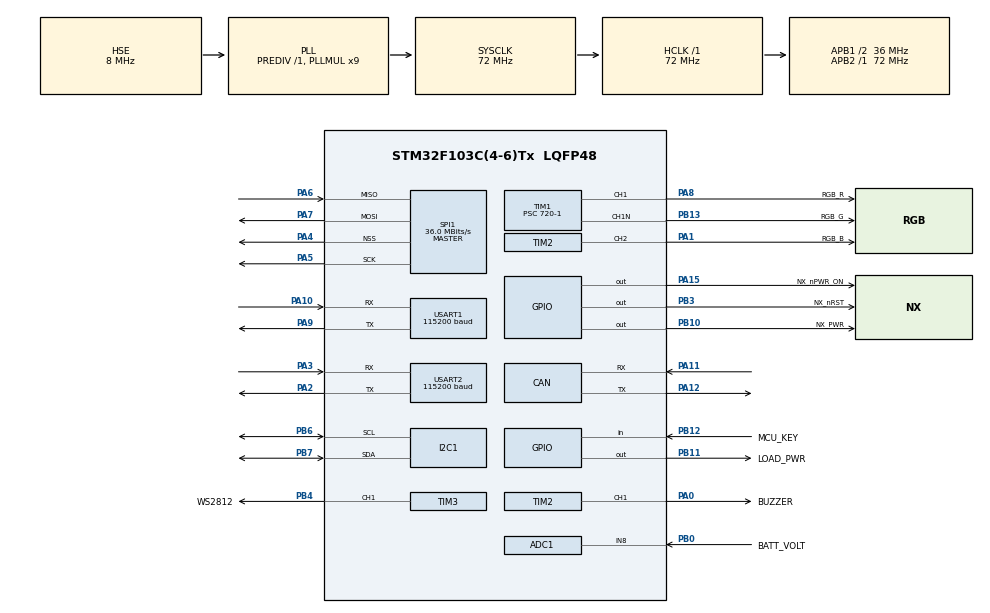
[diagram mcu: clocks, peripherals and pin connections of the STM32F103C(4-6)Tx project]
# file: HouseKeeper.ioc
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ADC1.Channel-1\#ChannelRegularConversion=ADC_CHANNEL_8
ADC1.NbrOfConversionFlag=1
ADC1.Rank-1\#ChannelRegularConversion=1
ADC1.SamplingTime-1\#ChannelRegularConversion=ADC_SAMPLETIME_1CYCLE_5
ADC1.master=1
CAN.BS1=CAN_BS1_1TQ
CAN.BS2=CAN_BS2_1TQ
CAN.CalculateTimeBit=1333
CAN.CalculateTimeQuantum=444.44444444444446
Dma.Request0=USART2_RX
Dma.Request1=USART2_TX
Dma.Request2=USART1_RX
Dma.Request3=USART1_TX
Dma.USART1_RX.2.Direction=DMA_PERIPH_TO_MEMORY
Dma.USART1_RX.2.Instance=DMA1_Channel5
Dma.USART1_RX.2.MemDataAlignment=DMA_MDATAALIGN_BYTE
Dma.USART1_RX.2.MemInc=DMA_MINC_ENABLE
Dma.USART1_RX.2.Mode=DMA_NORMAL
Dma.USART1_RX.2.PeriphDataAlignment=DMA_PDATAALIGN_BYTE
Dma.USART1_RX.2.PeriphInc=DMA_PINC_DISABLE
Dma.USART1_RX.2.Priority=DMA_PRIORITY_LOW
Dma.USART1_TX.3.Direction=DMA_MEMORY_TO_PERIPH
Dma.USART1_TX.3.Instance=DMA1_Channel4
Dma.USART1_TX.3.MemDataAlignment=DMA_MDATAALIGN_BYTE
Dma.USART1_TX.3.MemInc=DMA_MINC_ENABLE
Dma.USART1_TX.3.Mode=DMA_NORMAL
Dma.USART1_TX.3.PeriphDataAlignment=DMA_PDATAALIGN_BYTE
Dma.USART1_TX.3.PeriphInc=DMA_PINC_DISABLE
Dma.USART1_TX.3.Priority=DMA_PRIORITY_LOW
Dma.USART2_RX.0.Direction=DMA_PERIPH_TO_MEMORY
Dma.USART2_RX.0.Instance=DMA1_Channel6
Dma.USART2_RX.0.MemDataAlignment=DMA_MDATAALIGN_BYTE
Dma.USART2_RX.0.MemInc=DMA_MINC_ENABLE
Dma.USART2_RX.0.Mode=DMA_NORMAL
Dma.USART2_RX.0.PeriphDataAlignment=DMA_PDATAALIGN_BYTE
Dma.USART2_RX.0.PeriphInc=DMA_PINC_DISABLE
Dma.USART2_RX.0.Priority=DMA_PRIORITY_LOW
Dma.USART2_TX.1.Direction=DMA_MEMORY_TO_PERIPH
Dma.USART2_TX.1.Instance=DMA1_Channel7
Dma.USART2_TX.1.MemDataAlignment=DMA_MDATAALIGN_BYTE
Dma.USART2_TX.1.MemInc=DMA_MINC_ENABLE
Dma.USART2_TX.1.Mode=DMA_NORMAL
Dma.USART2_TX.1.PeriphDataAlignment=DMA_PDATAALIGN_BYTE
Dma.USART2_TX.1.PeriphInc=DMA_PINC_DISABLE
Dma.USART2_TX.1.Priority=DMA_PRIORITY_LOW
Mcu.Family=STM32F1
Mcu.Name=STM32F103C(4-6)Tx
Mcu.Package=LQFP48
NVIC.DMA1_Channel4_IRQn=true\:0\:0\:false\:false\:true\:false\:true
NVIC.DMA1_Channel5_IRQn=true\:0\:0\:false\:false\:true\:false\:true
NVIC.DMA1_Channel6_IRQn=true\:0\:0\:false\:false\:true\:false\:true
NVIC.DMA1_Channel7_IRQn=true\:0\:0\:false\:false\:true\:false\:true
NVIC.PriorityGroup=NVIC_PRIORITYGROUP_4
NVIC.TIM3_IRQn=true\:0\:0\:false\:false\:true\:true\:true
NVIC.USART1_IRQn=true\:0\:0\:false\:false\:true\:true\:true
NVIC.USART2_IRQn=true\:0\:0\:false\:false\:true\:true\:true
PA0-WKUP.GPIO_Label=BUZZER
PA0-WKUP.Signal=S_TIM2_CH1_ETR
PA1.GPIO_Label=RGB_B
PA1.Signal=S_TIM2_CH2
PA10.Mode=Asynchronous
PA10.Signal=USART1_RX
PA11.Mode=Master
PA11.Signal=CAN_RX
PA12.Mode=Master
PA12.Signal=CAN_TX
PA13.Mode=Serial_Wire
PA13.Signal=SYS_JTMS-SWDIO
PA14.Mode=Serial_Wire
PA14.Signal=SYS_JTCK-SWCLK
PA15.GPIO_Label=NX_nPWR_ON
PA15.Signal=GPIO_Output
PA2.GPIO_Speed=GPIO_SPEED_FREQ_HIGH
PA2.Mode=Asynchronous
PA2.Signal=USART2_TX
PA3.GPIO_Mode=GPIO_MODE_INPUT
PA3.GPIO_PuPd=GPIO_NOPULL
PA3.Mode=Asynchronous
PA3.Signal=USART2_RX
PA4.Mode=NSS_Signal_Hard_Output
PA4.Signal=SPI1_NSS
PA5.Mode=Full_Duplex_Master
PA5.Signal=SPI1_SCK
PA6.Mode=Full_Duplex_Master
PA6.Signal=SPI1_MISO
PA7.Mode=Full_Duplex_Master
PA7.Signal=SPI1_MOSI
PA8.GPIO_Label=RGB_R
PA8.Signal=S_TIM1_CH1
PA9.Mode=Asynchronous
PA9.Signal=USART1_TX
PB0.GPIO_Label=BATT_VOLT
PB0.Signal=ADCx_IN8
PB10.GPIO_Label=NX_PWR
PB10.Signal=GPIO_Output
PB11.GPIO_Label=LOAD_PWR
PB11.Signal=GPIO_Output
PB12.GPIO_Label=MCU_KEY
PB12.Signal=GPIO_Input
PB13.GPIO_Label=RGB_G
PB13.Mode=PWM Generation1 CH1 CH1N
PB13.Signal=TIM1_CH1N
PB3.GPIO_Label=NX_nRST
PB3.Signal=GPIO_Output
PB4.GPIO_Label=WS2812
PB4.Signal=S_TIM3_CH1
PB6.Mode=I2C
PB6.Signal=I2C1_SCL
PB7.Mode=I2C
PB7.Signal=I2C1_SDA
PD0-OSC_IN.Mode=HSE-External-Oscillator
PD0-OSC_IN.Signal=RCC_OSC_IN
PD1-OSC_OUT.Mode=HSE-External-Oscillator
PD1-OSC_OUT.Signal=RCC_OSC_OUT
ProjectManager.HeapSize=0x200
ProjectManager.StackSize=0x400
ProjectManager.TargetToolchain=MDK-ARM V5
RCC.ADCPresc=RCC_ADCPCLK2_DIV6
RCC.AHBFreq_Value=72000000
RCC.APB1CLKDivider=RCC_HCLK_DIV2
RCC.APB1Freq_Value=36000000
RCC.APB1TimFreq_Value=72000000
RCC.APB2Freq_Value=72000000
RCC.APB2TimFreq_Value=72000000
RCC.HCLKFreq_Value=72000000
RCC.PLLMUL=RCC_PLL_MUL9
RCC.PLLSourceVirtual=RCC_PLLSOURCE_HSE
RCC.SYSCLKFreq_VALUE=72000000
RCC.SYSCLKSource=RCC_SYSCLKSOURCE_PLLCLK
RCC.USBFreq_Value=72000000
SH.ADCx_IN8.0=ADC1_IN8,IN8
SH.S_TIM1_CH1.0=TIM1_CH1,PWM Generation1 CH1 CH1N
SH.S_TIM2_CH1_ETR.0=TIM2_CH1,PWM Generation1 CH1
SH.S_TIM2_CH2.0=TIM2_CH2,PWM Generation2 CH2
SH.S_TIM3_CH1.0=TIM3_CH1,PWM Generation1 CH1
SPI1.BaudRatePrescaler=SPI_BAUDRATEPRESCALER_2
SPI1.CalculateBaudRate=36.0 MBits/s
SPI1.Direction=SPI_DIRECTION_2LINES
SPI1.Mode=SPI_MODE_MASTER
SPI1.VirtualNSS=VM_NSSHARD
SPI1.VirtualType=VM_MASTER
TIM1.Channel-PWM\ Generation1\ CH1\ CH1N=TIM_CHANNEL_1
TIM1.Period=1000-1
TIM1.Prescaler=720-1
TIM1.Pulse-PWM\ Generation1\ CH1\ CH1N=990
TIM2.Channel-PWM\ Generation1\ CH1=TIM_CHANNEL_1
TIM2.Channel-PWM\ Generation2\ CH2=TIM_CHANNEL_2
TIM2.Period=1000-1
TIM2.Prescaler=720-1
TIM3.Channel-PWM\ Generation1\ CH1=TIM_CHANNEL_1
TIM3.Period=1000
TIM3.Prescaler=72-1
USART1.BaudRate=115200
USART1.VirtualMode=VM_ASYNC
USART2.BaudRate=115200
USART2.VirtualMode=VM_ASYNC
board=custom

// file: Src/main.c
/* USER CODE BEGIN Header */
/**
  ******************************************************************************
  * @file           : main.c
  * @brief          : Main program body
  ******************************************************************************
  * @attention
  *
  * <h2><center>&copy; Copyright (c) 2022 STMicroelectronics.
  * All rights reserved.</center></h2>
  *
  * This software component is licensed by ST under BSD 3-Clause license,
  * the "License"; You may not use this file except in compliance with the
  * License. You may obtain a copy of the License at:
  *                        opensource.org/licenses/BSD-3-Clause
  *
  ******************************************************************************
  */
/* USER CODE END Header */

#include "main.h"
#include "adc.h"
#include "can.h"
#include "dma.h"
#include "i2c.h"
#include "spi.h"
#include "tim.h"
#include "usart.h"
#include "gpio.h"

/* USER CODE BEGIN Includes */
#include "includes.h"
/* USER CODE END Includes */

/* USER CODE BEGIN PTD */

#ifdef __GNUC__
  /* With GCC/RAISONANCE, small printf (option LD Linker-Libraries-Small printf
     set to Yes) calls __io_putchar() */
  #define PUTCHAR_PROTOTYPE int __io_putchar(int ch)
#else
  #define PUTCHAR_PROTOTYPE int fputc(int ch, FILE *f)
#endif /* __GNUC__ */
/**
  * @brief  Retargets the C library printf function to the USART.
  * @param  None
  * @retval None
  */
PUTCHAR_PROTOTYPE
{
  /* Place your implementation of fputc here */
  /* e.g. write a character to the EVAL_COM1 and Loop until the end of transmission */
  HAL_UART_Transmit(&huart2, (uint8_t *)&ch, 1, 0xFFFF);

  return ch;
}

/* USER CODE END PTD */

void SystemClock_Config(void);

/* USER CODE BEGIN 0 */
/* USER CODE BEGIN 0 */

/* USER CODE END 0 */

int main(void)
{

  /* MCU Configuration--------------------------------------------------------*/

  /* Reset of all peripherals, Initializes the Flash interface and the Systick. */
  HAL_Init();

  /* USER CODE BEGIN Init */
  HAL_NVIC_DisableIRQ(USART1_IRQn);
  HAL_NVIC_DisableIRQ(USART2_IRQn);
  /* USER CODE END Init */

  /* Configure the system clock */
  SystemClock_Config();

  /* Initialize all configured peripherals */
  MX_GPIO_Init();
  MX_DMA_Init();
  MX_ADC1_Init();
  MX_CAN_Init();
  MX_SPI1_Init();
  MX_TIM2_Init();
  MX_TIM3_Init();
  MX_USART1_UART_Init();
  MX_USART2_UART_Init();
  MX_I2C1_Init();
  MX_TIM1_Init();
  /* USER CODE BEGIN 2 */

  HAL_TIM_Base_Start_IT(&htim3);
	HAL_TIM_PWM_Start(&htim1, TIM_CHANNEL_1);
	HAL_TIMEx_PWMN_Start(&htim1, TIM_CHANNEL_1);
	HAL_TIM_PWM_Start(&htim2, TIM_CHANNEL_2);
	HAL_NVIC_EnableIRQ(USART1_IRQn);
  HAL_NVIC_EnableIRQ(USART2_IRQn);
	__HAL_UART_ENABLE_IT(&huart1, UART_IT_IDLE);
	HAL_UART_Receive_DMA(&huart1, UART_RX_BUF, UART_RX_LEN);

// 	char order[18]={"hello world\r\n"};
//	HAL_UART_Transmit_IT(&huart2, (uint8_t *)&order, sizeof(order));
  /* USER CODE END 2 */

  /* Infinite loop */
  while (1)
  {

  }
}

void SystemClock_Config(void)
{
  RCC_OscInitTypeDef RCC_OscInitStruct = {0};
  RCC_ClkInitTypeDef RCC_ClkInitStruct = {0};
  RCC_PeriphCLKInitTypeDef PeriphClkInit = {0};

  /** Initializes the CPU, AHB and APB busses clocks
  */
  RCC_OscInitStruct.OscillatorType = RCC_OSCILLATORTYPE_HSE;
  RCC_OscInitStruct.HSEState = RCC_HSE_ON;
  RCC_OscInitStruct.HSEPredivValue = RCC_HSE_PREDIV_DIV1;
  RCC_OscInitStruct.HSIState = RCC_HSI_ON;
  RCC_OscInitStruct.PLL.PLLState = RCC_PLL_ON;
  RCC_OscInitStruct.PLL.PLLSource = RCC_PLLSOURCE_HSE;
  RCC_OscInitStruct.PLL.PLLMUL = RCC_PLL_MUL9;
  if (HAL_RCC_OscConfig(&RCC_OscInitStruct) != HAL_OK)
  {
    Error_Handler();
  }
  /** Initializes the CPU, AHB and APB busses clocks
  */
  RCC_ClkInitStruct.ClockType = RCC_CLOCKTYPE_HCLK|RCC_CLOCKTYPE_SYSCLK
                              |RCC_CLOCKTYPE_PCLK1|RCC_CLOCKTYPE_PCLK2;
  RCC_ClkInitStruct.SYSCLKSource = RCC_SYSCLKSOURCE_PLLCLK;
  RCC_ClkInitStruct.AHBCLKDivider = RCC_SYSCLK_DIV1;
  RCC_ClkInitStruct.APB1CLKDivider = RCC_HCLK_DIV2;
  RCC_ClkInitStruct.APB2CLKDivider = RCC_HCLK_DIV1;

  if (HAL_RCC_ClockConfig(&RCC_ClkInitStruct, FLASH_LATENCY_2) != HAL_OK)
  {
    Error_Handler();
  }
  PeriphClkInit.PeriphClockSelection = RCC_PERIPHCLK_ADC;
  PeriphClkInit.AdcClockSelection = RCC_ADCPCLK2_DIV6;
  if (HAL_RCCEx_PeriphCLKConfig(&PeriphClkInit) != HAL_OK)
  {
    Error_Handler();
  }
}

void Error_Handler(void)
{
}

/************************ (C) COPYRIGHT STMicroelectronics *****END OF FILE****/
